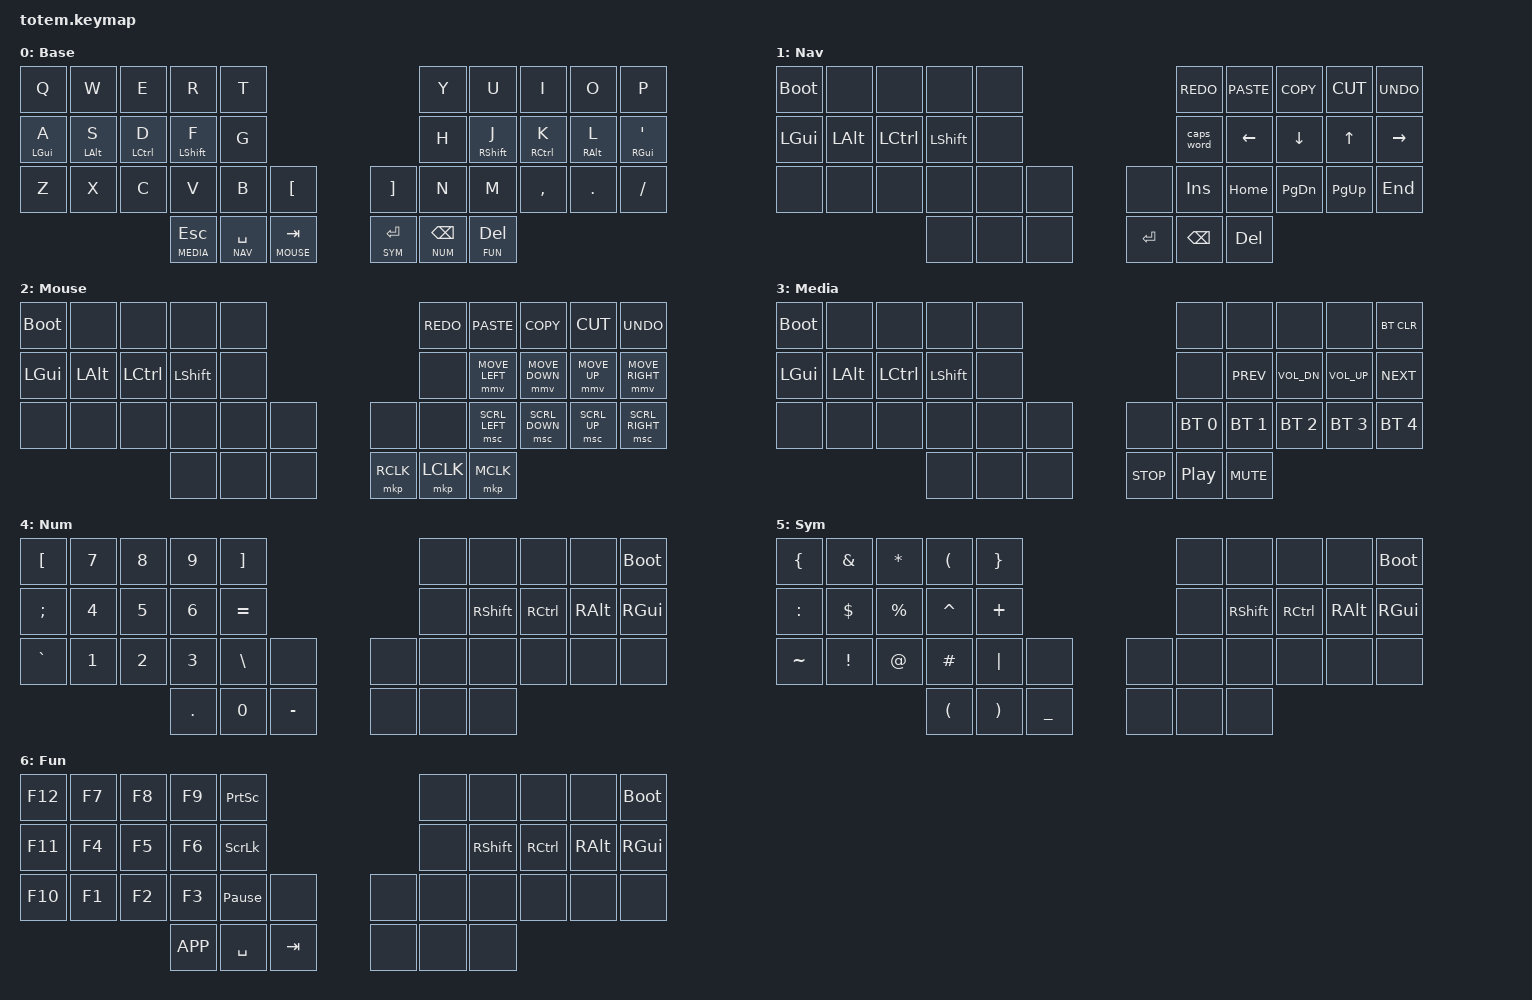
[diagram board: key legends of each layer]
/*
 * TOTEM Keyboard - Miryoku Layout with Mouse Support
 *
 * Features:
 * - Timeless home row mods (urob style)
 * - Full Miryoku layer structure
 * - Mouse keys with movement and scrolling
 * - Caps Word support
 *
 * Layout: 38 keys (3x5 + 4 per side = 10 + 4 = 14 per side, but TOTEM is 3x5+3+1)
 *
 * ╭──────────────────────────────────────────╮   ╭──────────────────────────────────────────╮
 * │  0   1   2   3   4                       │   │                       5   6   7   8   9 │
 * │ 10  11  12  13  14                       │   │                      15  16  17  18  19 │
 * │ 20  21  22  23  24  25                   │   │                  26  27  28  29  30  31 │
 * ╰─────────────────────╮ 32  33  34         │   │        35  36  37 ╭─────────────────────╯
 *                       ╰────────────────────╯   ╰────────────────────╯
 */

#include <behaviors.dtsi>
#include <dt-bindings/zmk/keys.h>
#include <dt-bindings/zmk/bt.h>
#include <dt-bindings/zmk/outputs.h>

/* Mouse support */
#include <dt-bindings/zmk/pointing.h>

/* ╔══════════════════════════════════════════════════════════════════════════════╗
   ║                              LAYER DEFINITIONS                               ║
   ╚══════════════════════════════════════════════════════════════════════════════╝ */

#define BASE    0
#define NAV     1
#define MOUSE   2
#define MEDIA   3
#define NUM     4
#define SYM     5
#define FUN     6

/* ╔══════════════════════════════════════════════════════════════════════════════╗
   ║                           KEY POSITION GROUPS                                ║
   ╚══════════════════════════════════════════════════════════════════════════════╝ */

/* Key positions for positional hold-tap (home row mods) */
#define KEYS_L 0 1 2 3 4 10 11 12 13 14 20 21 22 23 24 25    /* Left hand keys */
#define KEYS_R 5 6 7 8 9 15 16 17 18 19 26 27 28 29 30 31    /* Right hand keys */
#define THUMBS 32 33 34 35 36 37                              /* Thumb keys */

/* ╔══════════════════════════════════════════════════════════════════════════════╗
   ║                           BEHAVIOR CONFIGURATION                             ║
   ╚══════════════════════════════════════════════════════════════════════════════╝ */

/* Timing settings for home row mods */
#define QUICK_TAP_MS 175
#define TAPPING_TERM_MS 280
#define PRIOR_IDLE_MS 150

/* Mouse movement speed - commented out to avoid redefinition warnings */
/* #define ZMK_POINTING_DEFAULT_MOVE_VAL 1200 */
/* #define ZMK_POINTING_DEFAULT_SCRL_VAL 20 */

&caps_word {
    continue-list = <UNDERSCORE MINUS BACKSPACE DELETE>;
};

&sk {
    release-after-ms = <2000>;
    quick-release;
};

&sl {
    release-after-ms = <2000>;
};

/ {
    /* ══════════════════════════════════════════════════════════════════════════
       BEHAVIORS - Timeless Home Row Mods
       ══════════════════════════════════════════════════════════════════════════ */

    behaviors {
        /* Home row mod - Left hand */
        hml: home_row_mod_left {
            compatible = "zmk,behavior-hold-tap";
            #binding-cells = <2>;
            flavor = "balanced";
            tapping-term-ms = <TAPPING_TERM_MS>;
            quick-tap-ms = <QUICK_TAP_MS>;
            require-prior-idle-ms = <PRIOR_IDLE_MS>;
            bindings = <&kp>, <&kp>;
            hold-trigger-key-positions = <KEYS_R THUMBS>;
            hold-trigger-on-release;
        };

        /* Home row mod - Right hand */
        hmr: home_row_mod_right {
            compatible = "zmk,behavior-hold-tap";
            #binding-cells = <2>;
            flavor = "balanced";
            tapping-term-ms = <TAPPING_TERM_MS>;
            quick-tap-ms = <QUICK_TAP_MS>;
            require-prior-idle-ms = <PRIOR_IDLE_MS>;
            bindings = <&kp>, <&kp>;
            hold-trigger-key-positions = <KEYS_L THUMBS>;
            hold-trigger-on-release;
        };

        /* Layer-tap with quick tap */
        ltq: layer_tap_quick {
            compatible = "zmk,behavior-hold-tap";
            #binding-cells = <2>;
            flavor = "balanced";
            tapping-term-ms = <200>;
            quick-tap-ms = <QUICK_TAP_MS>;
            bindings = <&mo>, <&kp>;
        };
    };

    /* ══════════════════════════════════════════════════════════════════════════
       COMBOS
       ══════════════════════════════════════════════════════════════════════════ */

    combos {
        compatible = "zmk,combos";

        /* Caps Word - Both home row index fingers */
        combo_caps_word {
            timeout-ms = <50>;
            key-positions = <13 16>;  /* F + J positions */
            bindings = <&caps_word>;
            layers = <BASE>;
        };

        /* Escape - Top left two keys */
        combo_esc {
            timeout-ms = <50>;
            key-positions = <0 1>;
            bindings = <&kp ESC>;
            layers = <BASE NAV NUM SYM>;
        };
    };

    /* ══════════════════════════════════════════════════════════════════════════
       CONDITIONAL LAYERS - Tri-layer (NUM + SYM = FUN)
       ══════════════════════════════════════════════════════════════════════════ */

    conditional_layers {
        compatible = "zmk,conditional-layers";

        tri_layer {
            if-layers = <NUM SYM>;
            then-layer = <FUN>;
        };
    };

    /* ══════════════════════════════════════════════════════════════════════════
       KEYMAP
       ══════════════════════════════════════════════════════════════════════════ */

    keymap {
        compatible = "zmk,keymap";

        /* ──────────────────────────────────────────────────────────────────────
           BASE LAYER - QWERTY with Home Row Mods
           ──────────────────────────────────────────────────────────────────────

           ╭─────────────────────────────────────────╮   ╭─────────────────────────────────────────╮
           │   Q     W     E     R     T             │   │             Y     U     I     O     P   │
           │   A     S     D     F     G             │   │             H     J     K     L     '   │
           │   Z     X     C     V     B    [        │   │        ]    N     M     ,     .     /   │
           ╰───────────────────╮ ESC  SPC   TAB      │   │      ENT  BSPC  DEL  ╭───────────────────╯
                               ╰─────────────────────╯   ╰─────────────────────╯

           Home Row Mods: A=GUI, S=ALT, D=CTRL, F=SHIFT | J=SHIFT, K=CTRL, L=ALT, '=GUI
           Thumb Layers:  ESC/MEDIA, SPC/NAV, TAB/MOUSE | ENT/SYM, BSPC/NUM, DEL/FUN
        */
        base_layer {
            display-name = "Base";
            bindings = <
        // ╭─────────────┬─────────────┬─────────────┬─────────────┬─────────────╮                                           ╭─────────────┬─────────────┬─────────────┬─────────────┬─────────────╮
             &kp Q         &kp W         &kp E         &kp R         &kp T                                                     &kp Y         &kp U         &kp I         &kp O         &kp P
        // ├─────────────┼─────────────┼─────────────┼─────────────┼─────────────┤                                           ├─────────────┼─────────────┼─────────────┼─────────────┼─────────────┤
             &hml LGUI A   &hml LALT S   &hml LCTRL D  &hml LSHFT F  &kp G                                                     &kp H         &hmr RSHFT J  &hmr RCTRL K  &hmr RALT L   &hmr RGUI SQT
        // ├─────────────┼─────────────┼─────────────┼─────────────┼─────────────┼─────────────╮               ╭─────────────┼─────────────┼─────────────┼─────────────┼─────────────┼─────────────┤
             &kp Z         &kp X         &kp C         &kp V         &kp B         &kp LBKT                      &kp RBKT      &kp N         &kp M         &kp COMMA     &kp DOT       &kp FSLH
        // ╰─────────────┴─────────────┴─────────────┼─────────────┼─────────────┼─────────────┤               ├─────────────┼─────────────┼─────────────┼─────────────┴─────────────┴─────────────╯
                                                       &ltq MEDIA ESC &ltq NAV SPACE &ltq MOUSE TAB             &ltq SYM RET  &ltq NUM BSPC &ltq FUN DEL
        //                                           ╰─────────────┴─────────────┴─────────────╯               ╰─────────────┴─────────────┴─────────────╯
            >;
        };

        /* ──────────────────────────────────────────────────────────────────────
           NAV LAYER - Navigation (Right Hand)
           ──────────────────────────────────────────────────────────────────────

           ╭─────────────────────────────────────────╮   ╭─────────────────────────────────────────╮
           │ BOOT  XXXXX XXXXX XXXXX XXXXX           │   │           REDO PASTE COPY  CUT  UNDO    │
           │ GUI   ALT   CTRL  SHIFT XXXXX           │   │           CAPS LEFT  DOWN  UP   RIGHT   │
           │ XXXXX XXXXX XXXXX XXXXX XXXXX XXXXX     │   │   XXXXX   INS  HOME  PGDN  PGUP END     │
           ╰───────────────────╮ XXXXX XXXXX XXXXX   │   │   ENT  BSPC  DEL  ╭───────────────────╯
                               ╰─────────────────────╯   ╰─────────────────────╯
        */
        nav_layer {
            display-name = "Nav";
            bindings = <
        // ╭─────────────┬─────────────┬─────────────┬─────────────┬─────────────╮                                           ╭─────────────┬─────────────┬─────────────┬─────────────┬─────────────╮
             &bootloader   &none         &none         &none         &none                                                     &kp K_REDO    &kp K_PASTE   &kp K_COPY    &kp K_CUT     &kp K_UNDO
        // ├─────────────┼─────────────┼─────────────┼─────────────┼─────────────┤                                           ├─────────────┼─────────────┼─────────────┼─────────────┼─────────────┤
             &kp LGUI      &kp LALT      &kp LCTRL     &kp LSHFT     &none                                                     &caps_word    &kp LEFT      &kp DOWN      &kp UP        &kp RIGHT
        // ├─────────────┼─────────────┼─────────────┼─────────────┼─────────────┼─────────────╮               ╭─────────────┼─────────────┼─────────────┼─────────────┼─────────────┼─────────────┤
             &none         &none         &none         &none         &none         &none                         &none         &kp INS       &kp HOME      &kp PG_DN     &kp PG_UP     &kp END
        // ╰─────────────┴─────────────┴─────────────┼─────────────┼─────────────┼─────────────┤               ├─────────────┼─────────────┼─────────────┼─────────────┴─────────────┴─────────────╯
                                                       &none         &none         &none                         &kp RET       &kp BSPC      &kp DEL
        //                                           ╰─────────────┴─────────────┴─────────────╯               ╰─────────────┴─────────────┴─────────────╯
            >;
        };

        /* ──────────────────────────────────────────────────────────────────────
           MOUSE LAYER - Mouse Keys (Right Hand)
           ──────────────────────────────────────────────────────────────────────

           ╭─────────────────────────────────────────╮   ╭─────────────────────────────────────────╮
           │ BOOT  XXXXX XXXXX XXXXX XXXXX           │   │           REDO PASTE COPY  CUT  UNDO    │
           │ GUI   ALT   CTRL  SHIFT XXXXX           │   │           XXXXX M_LT M_DN M_UP  M_RT    │
           │ XXXXX XXXXX XXXXX XXXXX XXXXX XXXXX     │   │   XXXXX   XXXXX SC_L SC_D SC_U  SC_R    │
           ╰───────────────────╮ XXXXX XXXXX XXXXX   │   │   RCLK  LCLK  MCLK  ╭───────────────────╯
                               ╰─────────────────────╯   ╰─────────────────────╯
        */
        mouse_layer {
            display-name = "Mouse";
            bindings = <
        // ╭─────────────┬─────────────┬─────────────┬─────────────┬─────────────╮                                           ╭─────────────┬─────────────┬─────────────┬─────────────┬─────────────╮
             &bootloader   &none         &none         &none         &none                                                     &kp K_REDO    &kp K_PASTE   &kp K_COPY    &kp K_CUT     &kp K_UNDO
        // ├─────────────┼─────────────┼─────────────┼─────────────┼─────────────┤                                           ├─────────────┼─────────────┼─────────────┼─────────────┼─────────────┤
             &kp LGUI      &kp LALT      &kp LCTRL     &kp LSHFT     &none                                                     &none         &mmv MOVE_LEFT &mmv MOVE_DOWN &mmv MOVE_UP &mmv MOVE_RIGHT
        // ├─────────────┼─────────────┼─────────────┼─────────────┼─────────────┼─────────────╮               ╭─────────────┼─────────────┼─────────────┼─────────────┼─────────────┼─────────────┤
             &none         &none         &none         &none         &none         &none                         &none         &none         &msc SCRL_LEFT &msc SCRL_DOWN &msc SCRL_UP &msc SCRL_RIGHT
        // ╰─────────────┴─────────────┴─────────────┼─────────────┼─────────────┼─────────────┤               ├─────────────┼─────────────┼─────────────┼─────────────┴─────────────┴─────────────╯
                                                       &none         &none         &none                         &mkp RCLK     &mkp LCLK     &mkp MCLK
        //                                           ╰─────────────┴─────────────┴─────────────╯               ╰─────────────┴─────────────┴─────────────╯
            >;
        };

        /* ──────────────────────────────────────────────────────────────────────
           MEDIA LAYER - Media Controls (Right Hand)
           ──────────────────────────────────────────────────────────────────────

           ╭─────────────────────────────────────────╮   ╭─────────────────────────────────────────╮
           │ BOOT  XXXXX XXXXX XXXXX XXXXX           │   │           XXXXX XXXXX XXXXX XXXXX BT_CLR│
           │ GUI   ALT   CTRL  SHIFT XXXXX           │   │           XXXXX PREV  VOLDN VOLUP NEXT  │
           │ XXXXX XXXXX XXXXX XXXXX XXXXX XXXXX     │   │   XXXXX   BT0   BT1   BT2   BT3   BT4   │
           ╰───────────────────╮ XXXXX XXXXX XXXXX   │   │   STOP  PLAY  MUTE  ╭───────────────────╯
                               ╰─────────────────────╯   ╰─────────────────────╯
        */
        media_layer {
            display-name = "Media";
            bindings = <
        // ╭─────────────┬─────────────┬─────────────┬─────────────┬─────────────╮                                           ╭─────────────┬─────────────┬─────────────┬─────────────┬─────────────╮
             &bootloader   &none         &none         &none         &none                                                     &none         &none         &none         &none         &bt BT_CLR
        // ├─────────────┼─────────────┼─────────────┼─────────────┼─────────────┤                                           ├─────────────┼─────────────┼─────────────┼─────────────┼─────────────┤
             &kp LGUI      &kp LALT      &kp LCTRL     &kp LSHFT     &none                                                     &none         &kp C_PREV    &kp C_VOL_DN  &kp C_VOL_UP  &kp C_NEXT
        // ├─────────────┼─────────────┼─────────────┼─────────────┼─────────────┼─────────────╮               ╭─────────────┼─────────────┼─────────────┼─────────────┼─────────────┼─────────────┤
             &none         &none         &none         &none         &none         &none                         &none         &bt BT_SEL 0  &bt BT_SEL 1  &bt BT_SEL 2  &bt BT_SEL 3  &bt BT_SEL 4
        // ╰─────────────┴─────────────┴─────────────┼─────────────┼─────────────┼─────────────┤               ├─────────────┼─────────────┼─────────────┼─────────────┴─────────────┴─────────────╯
                                                       &none         &none         &none                         &kp C_STOP    &kp C_PP      &kp C_MUTE
        //                                           ╰─────────────┴─────────────┴─────────────╯               ╰─────────────┴─────────────┴─────────────╯
            >;
        };

        /* ──────────────────────────────────────────────────────────────────────
           NUM LAYER - Numbers (Left Hand)
           ──────────────────────────────────────────────────────────────────────

           ╭─────────────────────────────────────────╮   ╭─────────────────────────────────────────╮
           │   [     7     8     9     ]             │   │             XXXXX XXXXX XXXXX XXXXX BOOT│
           │   ;     4     5     6     =             │   │             XXXXX SHIFT CTRL  ALT   GUI │
           │   `     1     2     3     \    XXXXX    │   │   XXXXX   XXXXX XXXXX XXXXX XXXXX XXXXX │
           ╰───────────────────╮  .    0     -       │   │    XXXXX XXXXX XXXXX ╭───────────────────╯
                               ╰─────────────────────╯   ╰─────────────────────╯
        */
        num_layer {
            display-name = "Num";
            bindings = <
        // ╭─────────────┬─────────────┬─────────────┬─────────────┬─────────────╮                                           ╭─────────────┬─────────────┬─────────────┬─────────────┬─────────────╮
             &kp LBKT      &kp N7        &kp N8        &kp N9        &kp RBKT                                                  &none         &none         &none         &none         &bootloader
        // ├─────────────┼─────────────┼─────────────┼─────────────┼─────────────┤                                           ├─────────────┼─────────────┼─────────────┼─────────────┼─────────────┤
             &kp SEMI      &kp N4        &kp N5        &kp N6        &kp EQUAL                                                 &none         &kp RSHFT     &kp RCTRL     &kp RALT      &kp RGUI
        // ├─────────────┼─────────────┼─────────────┼─────────────┼─────────────┼─────────────╮               ╭─────────────┼─────────────┼─────────────┼─────────────┼─────────────┼─────────────┤
             &kp GRAVE     &kp N1        &kp N2        &kp N3        &kp BSLH      &none                         &none         &none         &none         &none         &none         &none
        // ╰─────────────┴─────────────┴─────────────┼─────────────┼─────────────┼─────────────┤               ├─────────────┼─────────────┼─────────────┼─────────────┴─────────────┴─────────────╯
                                                       &kp DOT       &kp N0        &kp MINUS                     &none         &none         &none
        //                                           ╰─────────────┴─────────────┴─────────────╯               ╰─────────────┴─────────────┴─────────────╯
            >;
        };

        /* ──────────────────────────────────────────────────────────────────────
           SYM LAYER - Symbols (Left Hand)
           ──────────────────────────────────────────────────────────────────────

           ╭─────────────────────────────────────────╮   ╭─────────────────────────────────────────╮
           │   {     &     *     (     }             │   │             XXXXX XXXXX XXXXX XXXXX BOOT│
           │   :     $     %     ^     +             │   │             XXXXX SHIFT CTRL  ALT   GUI │
           │   ~     !     @     #     |    XXXXX    │   │   XXXXX   XXXXX XXXXX XXXXX XXXXX XXXXX │
           ╰───────────────────╮  (     )     _      │   │    XXXXX XXXXX XXXXX ╭───────────────────╯
                               ╰─────────────────────╯   ╰─────────────────────╯
        */
        sym_layer {
            display-name = "Sym";
            bindings = <
        // ╭─────────────┬─────────────┬─────────────┬─────────────┬─────────────╮                                           ╭─────────────┬─────────────┬─────────────┬─────────────┬─────────────╮
             &kp LBRC      &kp AMPS      &kp ASTRK     &kp LPAR      &kp RBRC                                                  &none         &none         &none         &none         &bootloader
        // ├─────────────┼─────────────┼─────────────┼─────────────┼─────────────┤                                           ├─────────────┼─────────────┼─────────────┼─────────────┼─────────────┤
             &kp COLON     &kp DLLR      &kp PRCNT     &kp CARET     &kp PLUS                                                  &none         &kp RSHFT     &kp RCTRL     &kp RALT      &kp RGUI
        // ├─────────────┼─────────────┼─────────────┼─────────────┼─────────────┼─────────────╮               ╭─────────────┼─────────────┼─────────────┼─────────────┼─────────────┼─────────────┤
             &kp TILDE     &kp EXCL      &kp AT        &kp HASH      &kp PIPE      &none                         &none         &none         &none         &none         &none         &none
        // ╰─────────────┴─────────────┴─────────────┼─────────────┼─────────────┼─────────────┤               ├─────────────┼─────────────┼─────────────┼─────────────┴─────────────┴─────────────╯
                                                       &kp LPAR      &kp RPAR      &kp UNDER                     &none         &none         &none
        //                                           ╰─────────────┴─────────────┴─────────────╯               ╰─────────────┴─────────────┴─────────────╯
            >;
        };

        /* ──────────────────────────────────────────────────────────────────────
           FUN LAYER - Function Keys (Left Hand)
           ──────────────────────────────────────────────────────────────────────

           ╭─────────────────────────────────────────╮   ╭─────────────────────────────────────────╮
           │  F12    F7    F8    F9   PSCR           │   │             XXXXX XXXXX XXXXX XXXXX BOOT│
           │  F11    F4    F5    F6   SLCK           │   │             XXXXX SHIFT CTRL  ALT   GUI │
           │  F10    F1    F2    F3   PAUSE XXXXX    │   │   XXXXX   XXXXX XXXXX XXXXX XXXXX XXXXX │
           ╰───────────────────╮ APP  SPC   TAB      │   │    XXXXX XXXXX XXXXX ╭───────────────────╯
                               ╰─────────────────────╯   ╰─────────────────────╯
        */
        fun_layer {
            display-name = "Fun";
            bindings = <
        // ╭─────────────┬─────────────┬─────────────┬─────────────┬─────────────╮                                           ╭─────────────┬─────────────┬─────────────┬─────────────┬─────────────╮
             &kp F12       &kp F7        &kp F8        &kp F9        &kp PSCRN                                                 &none         &none         &none         &none         &bootloader
        // ├─────────────┼─────────────┼─────────────┼─────────────┼─────────────┤                                           ├─────────────┼─────────────┼─────────────┼─────────────┼─────────────┤
             &kp F11       &kp F4        &kp F5        &kp F6        &kp SLCK                                                  &none         &kp RSHFT     &kp RCTRL     &kp RALT      &kp RGUI
        // ├─────────────┼─────────────┼─────────────┼─────────────┼─────────────┼─────────────╮               ╭─────────────┼─────────────┼─────────────┼─────────────┼─────────────┼─────────────┤
             &kp F10       &kp F1        &kp F2        &kp F3        &kp PAUSE_BREAK &none                       &none         &none         &none         &none         &none         &none
        // ╰─────────────┴─────────────┴─────────────┼─────────────┼─────────────┼─────────────┤               ├─────────────┼─────────────┼─────────────┼─────────────┴─────────────┴─────────────╯
                                                       &kp K_APP     &kp SPACE     &kp TAB                       &none         &none         &none
        //                                           ╰─────────────┴─────────────┴─────────────╯               ╰─────────────┴─────────────┴─────────────╯
            >;
        };
    };
};
